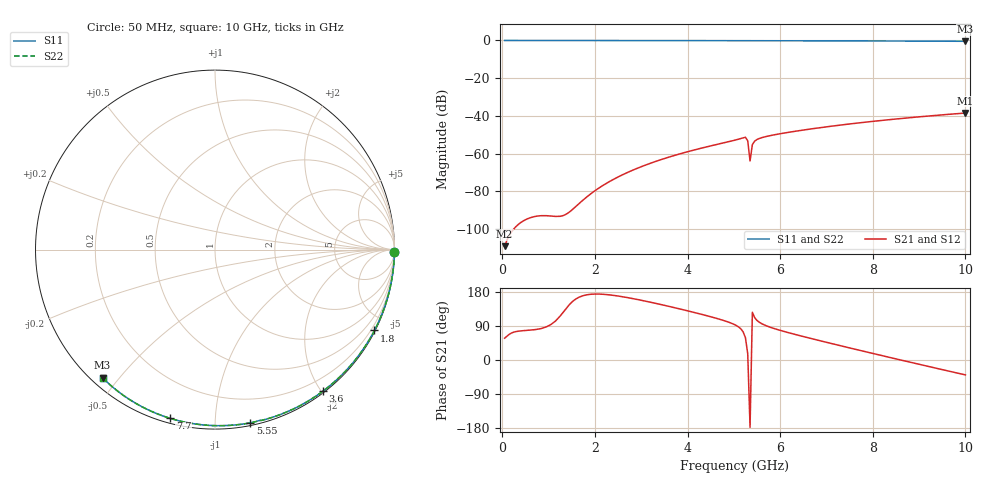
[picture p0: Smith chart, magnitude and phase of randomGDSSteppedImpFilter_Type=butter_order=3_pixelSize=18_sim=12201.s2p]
! freq	dB(S11)	phase(S11)	dB(S12)	phase(S12)
!  dB(S21)	phase(S21)	dB(S22)	phase(S22)
!S-par simulation data
#  GHz  S  DB  R 50
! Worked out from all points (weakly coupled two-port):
!   200 points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, 50 MHz to 10 GHz, reference 50 ohm
!   highest |S21| = -38.47 dB at 10 GHz (marker M1); lowest = -109.0 dB at 50 MHz (marker M2)
!   lowest |S11| = -0.4 dB at 10 GHz (marker M3), VSWR 39.02, Z = 1.54 - j22.6 ohm
!   |S11| at or under -10 dB: nowhere
!   |S22| runs from -0.4 to 0.0 dB; largest |S21 - S12| = 0
!   S11 on the Smith chart (normalised r, x): 50 MHz: open; 1.8 GHz: 0.04, -4.18; 3.6 GHz: 0.02, -2.02; 5.55 GHz: 0.02, -1.22; 7.7 GHz: 0.02, -0.77; 10 GHz: 0.03, -0.45
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0.05  -0.00 -0.8  -109.03 57.6  -109.03 57.6  -0.00 -0.8
0.9  -0.02 -13.6  -92.86 85.3  -92.86 85.3  -0.02 -13.6
1.75  -0.03 -26.2  -84.46 169.9  -84.46 169.9  -0.03 -26.2
1.8  -0.03 -26.9  -83.42 171.4  -83.42 171.4  -0.03 -26.9
2  -0.04 -29.8  -79.67 174.1  -79.67 174.1  -0.04 -29.8
2.35  -0.04 -34.9  -74.29 171.3  -74.29 171.3  -0.04 -34.9
2.65  -0.05 -39.2  -70.56 165.8  -70.56 165.8  -0.05 -39.2
3.4  -0.07 -49.8  -63.38 147.1  -63.38 147.1  -0.07 -49.8
3.6  -0.07 -52.6  -61.81 141.5  -61.81 141.5  -0.07 -52.6
4.2  -0.09 -60.8  -57.69 123.8  -57.69 123.8  -0.09 -60.8
5.05  -0.11 -72.1  -52.67 91.2  -52.67 91.2  -0.11 -72.1
5.25  -0.12 -74.8  -51.29 59.1  -51.29 59.1  -0.12 -74.8
5.3  -0.14 -75.5  -53.22 16.3  -53.22 16.3  -0.14 -75.5
5.35  -0.14 -75.9  -63.87 -177.7  -63.87 -177.7  -0.14 -75.9
5.4  -0.13 -76.6  -55.19 126.0  -55.19 126.0  -0.13 -76.6
5.45  -0.13 -77.2  -53.33 111.7  -53.33 111.7  -0.13 -77.2
5.55  -0.13 -78.5  -51.95 99.6  -51.95 99.6  -0.13 -78.5
5.95  -0.15 -83.6  -49.65 80.0  -49.65 80.0  -0.15 -83.6
6.7  -0.18 -92.9  -46.77 55.7  -46.77 55.7  -0.18 -92.9
7.7  -0.24 -104.9  -43.69 26.0  -43.69 26.0  -0.24 -104.9
8.35  -0.29 -112.5  -41.99 7.2  -41.99 7.2  -0.29 -112.5
10  -0.45 -131.2  -38.47 -39.3  -38.47 -39.3  -0.45 -131.2
